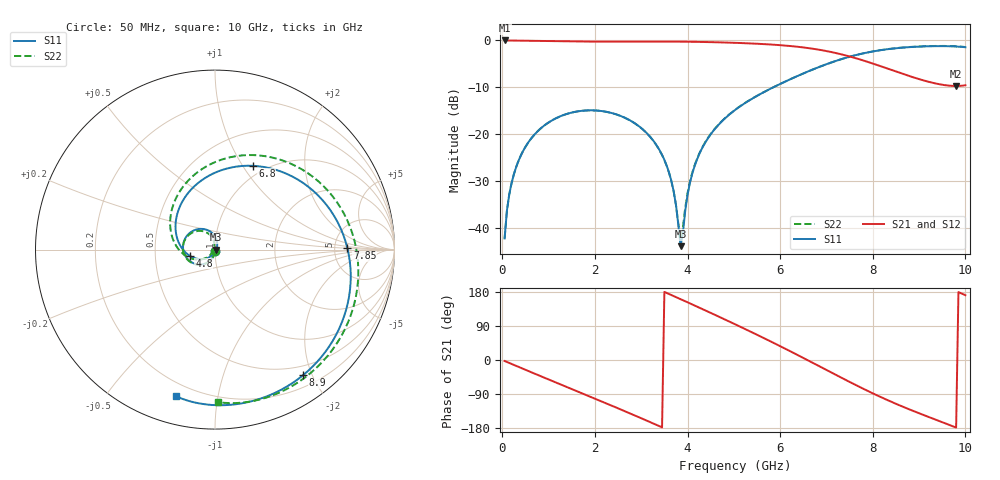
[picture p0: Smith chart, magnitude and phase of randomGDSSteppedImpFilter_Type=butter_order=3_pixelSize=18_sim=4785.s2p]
! freq	dB(S11)	phase(S11)	dB(S12)	phase(S12)
!  dB(S21)	phase(S21)	dB(S22)	phase(S22)
!S-par simulation data
#  GHz  S  DB  R 50
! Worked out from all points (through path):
!   200 points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, 50 MHz to 10 GHz, reference 50 ohm
!   highest |S21| = 0.00 dB at 50 MHz (marker M1); lowest = -9.7 dB at 9.8 GHz (marker M2)
!   group delay of S21, straight-line fit = 157 ps
!   lowest |S11| = -43.9 dB at 3.85 GHz (marker M3), VSWR 1.01, Z = 50.6 - j0.124 ohm
!   |S11| at or under -10 dB: start of sweep to 5.853 GHz
!   |S22| runs from -42.4 to -1.2 dB; largest |S21 - S12| = 0
!   S11 on the Smith chart (normalised r, x): 50 MHz: 1.00, -0.02; 4.8 GHz: 0.75, -0.05; 6.8 GHz: 0.88, +1.11; 7.85 GHz: 6.63, +0.20; 8.9 GHz: 0.36, -1.87; 10 GHz: 0.13, -0.76
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0.05  -42.29 -91.8  -0.00 -2.6  -0.00 -2.6  -42.29 -91.7
0.2  -30.48 -99.8  -0.02 -10.4  -0.02 -10.4  -30.48 -99.5
0.5  -22.72 -116.7  -0.06 -25.8  -0.06 -25.8  -22.72 -115.9
1.15  -16.66 -150.8  -0.16 -59.0  -0.16 -59.0  -16.66 -148.8
1.75  -14.99 178.1  -0.24 -89.3  -0.24 -89.3  -15.00 -178.5
2.5  -15.91 138.6  -0.26 -127.6  -0.26 -127.6  -15.93 144.6
3.4  -23.51 86.7  -0.24 -175.0  -0.24 -175.0  -23.55 102.4
3.7  -32.17 60.9  -0.25 168.8  -0.25 168.8  -32.22 98.0
3.85  -43.93 -11.1  -0.26 160.5  -0.26 160.5  -42.41 156.5
4  -33.01 -106.2  -0.27 152.3  -0.27 152.3  -32.63 -134.1
4.15  -26.91 -123.0  -0.29 144.0  -0.29 144.0  -26.74 -132.8
4.8  -16.72 -166.7  -0.44 107.3  -0.44 107.3  -16.67 -161.4
5.05  -14.68 177.6  -0.52 93.0  -0.52 93.0  -14.64 -174.5
6  -9.29 117.5  -1.01 36.5  -1.01 36.5  -9.30 132.3
6.7  -6.22 72.3  -1.76 -7.2  -1.76 -7.2  -6.24 89.9
6.8  -5.82 65.8  -1.91 -13.6  -1.91 -13.6  -5.84 83.6
7.35  -3.90 30.8  -3.03 -48.5  -3.03 -48.5  -3.92 49.0
7.85  -2.64 0.5  -4.45 -79.2  -4.45 -79.2  -2.64 18.3
8.35  -1.83 -27.4  -6.12 -107.6  -6.12 -107.6  -1.82 -10.2
8.9  -1.36 -55.0  -7.95 -135.7  -7.95 -135.7  -1.33 -38.5
9.8  -1.29 -95.6  -9.73 -178.3  -9.73 -178.3  -1.25 -79.6
10  -1.46 -104.8  -9.56 170.9  -9.56 170.9  -1.41 -88.8
